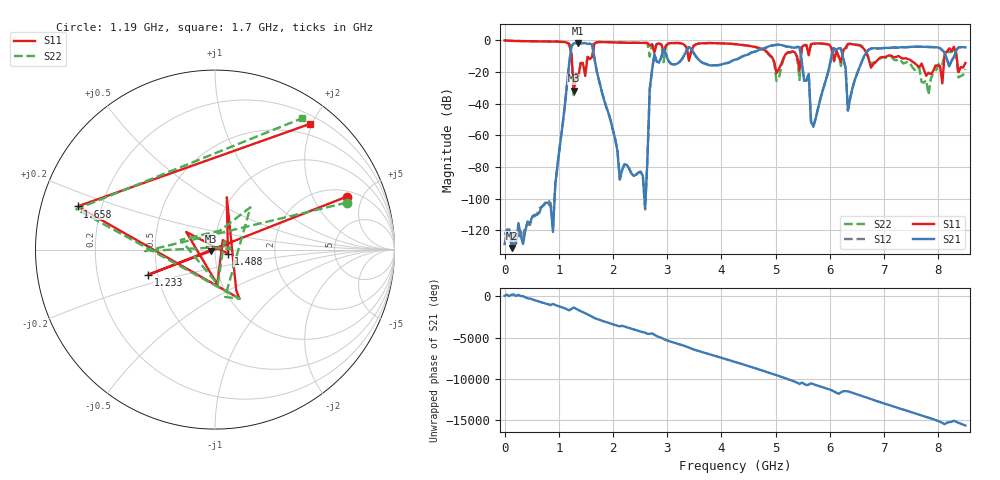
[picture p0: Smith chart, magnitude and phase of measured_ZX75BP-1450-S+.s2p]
#  HZ  S  RI  R  50.00
! Rohde & Schwarz Vector Network Analyzer
! Rohde-Schwarz,ZNB8-4Port,REDACTED,3.12
! Created: UTC 3/24/2026, 2:56:31 PM
! ZX75BP-1450+
! freq[Hz]  re:S11  im:S11  re:S21  im:S21  re:S12  im:S12  re:S22  im:S22
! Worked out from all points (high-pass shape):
!   201 points, 100 kHz to 8.5 GHz, reference 50 ohm
!   highest |S21| = -1.61 dB at 1.36 GHz (marker M1); lowest = -131.2 dB at 127.6 MHz (marker M2)
!   |S21| within 3 dB of the highest: 4.811 GHz to 5.442 GHz (631 MHz wide, 12.3 % of centre); 7.127 GHz to 8.013 GHz (886.5 MHz wide, 11.7 % of centre) (the widest 2 of 5)
!   lowest |S11| = -31.7 dB at 1.275 GHz (marker M3), VSWR 1.05, Z = 47.6 - j0.831 ohm
!   |S11| at or under -10 dB: 1.236 GHz to 1.617 GHz (380.4 MHz wide, 26.7 % of centre); 6.699 GHz to 7.053 GHz (354.1 MHz wide, 5.15 % of centre); 7.276 GHz to 8.113 GHz (837.7 MHz wide, 10.9 % of centre) (the widest 3 of 10)
!   |S22| runs from -34.6 to 0.0 dB; largest |S21 - S12| = 0.041
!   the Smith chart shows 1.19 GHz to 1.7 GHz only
!   S11 on the Smith chart (normalised r, x): 1.19 GHz: 2.36, +3.75; 1.233 GHz: 0.44, -0.15; 1.488 GHz: 1.15, -0.05; 1.658 GHz: 0.11, +0.15; 1.7 GHz: 0.32, +1.97
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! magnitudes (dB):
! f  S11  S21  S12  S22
! 100 kHz  0.0  -128.6  -122.8  0.0
! 127.6 MHz  -0.3  -131.2  -128.1  -0.2
! 977.6 MHz  -0.7  -78.3  -78.3  -0.7
! 1.19 GHz  -2.0  -15.0  -14.9  -2.2
! 1.233 GHz  -8.0  -3.5  -3.5  -8.2
! 1.275 GHz  -31.7  -1.8  -1.8  -34.6
! 1.36 GHz  -23.3  -1.6  -1.6  -23.2
! 1.445 GHz  -14.5  -1.7  -1.7  -14.1
! 1.488 GHz  -22.4  -1.6  -1.6  -19.3
! 1.658 GHz  -1.9  -11.3  -11.3  -1.9
! 1.7 GHz  -1.1  -19.5  -19.4  -1.1
! 2.125 GHz  -1.4  -87.9  -87.9  -1.3
! 2.593 GHz  -1.5  -106.0  -106.8  -1.5
! 2.72 GHz  -2.4  -18.8  -18.7  -2.3
! 2.848 GHz  -1.9  -14.1  -14.0  -1.9
! 4.25 GHz  -2.4  -12.1  -12.2  -2.2
! 5.44 GHz  -18.9  -4.2  -4.2  -25.0
! 5.695 GHz  -2.0  -54.4  -54.4  -2.2
! 6.078 GHz  -12.8  -4.9  -4.9  -13.2
! 6.333 GHz  -2.2  -44.2  -44.3  -2.3
! 7.098 GHz  -9.4  -4.7  -4.7  -10.3
! 8.5 GHz  -14.2  -4.4  -4.3  -18.1
